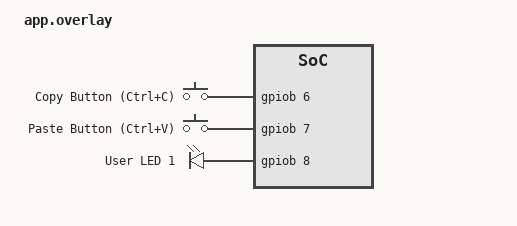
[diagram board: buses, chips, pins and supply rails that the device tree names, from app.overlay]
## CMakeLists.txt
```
# SPDX-License-Identifier: Apache-2.0

cmake_minimum_required(VERSION 3.20.0)
find_package(Zephyr REQUIRED HINTS $ENV{ZEPHYR_BASE})
project(blinky)

target_sources(app PRIVATE
    src/main.c
    src/ble.c
    src/button.c)
```

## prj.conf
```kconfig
CONFIG_GPIO=y

# ================================================================== #
#  Низкое энергопотребление CPU1: PM + Tickless                       #
#                                                                     #
#  CONFIG_PM=y             — Power Management Zephyr. При idle        #
#                            CPU1 входит в STOP2 (~единицы мкА).      #
#  CONFIG_PM_DEVICE=y      — сохранение/восстановление периферии      #
#                            при переходе CPU в сон.                  #
#  CONFIG_TICKLESS_KERNEL=y — глушит системный тик в idle; иначе      #
#                            SysTick будит CPU каждые ~1 мс и STOP2   #
#                            не достигается.                          #
#                                                                     #
#  wakeup: прерывание IPCC_C1_RX_IRQn (прямое NVIC, без EXTI) и      #
#  EXTI кнопок будят CPU1 из STOP2, поэтому BLE-события от CPU2 и    #
#  нажатия кнопок продолжают обрабатываться.                          #
# ================================================================== #
CONFIG_PM=y
CONFIG_PM_DEVICE=y
CONFIG_TICKLESS_KERNEL=y

# === Консоль через SEGGER RTT (вместо USB CDC ACM) ===

# Базовая консоль
CONFIG_CONSOLE=y
CONFIG_STDOUT_CONSOLE=y

# Отключаем UART-консоль, чтобы не было конфликта с RTT
CONFIG_UART_CONSOLE=n

# Включаем библиотеку SEGGER RTT
CONFIG_USE_SEGGER_RTT=y

# Направляем консольный вывод в RTT (Channel 0)
CONFIG_RTT_CONSOLE=y

# === Shell поверх RTT (Channel 0) ===
# CONFIG_SHELL=y
# CONFIG_SHELL_BACKEND_RTT=y
# CONFIG_KERNEL_SHELL=y

# === Подсистема логирования (LOG_INF/LOG_ERR/...) в SEGGER RTT ===
# Включаем подсистему логирования Zephyr
CONFIG_LOG=y
# RTT-бекенд: направляет сообщения LOG_* в SEGGER RTT
CONFIG_LOG_BACKEND_RTT=y
# ВАЖНО: shell уже занимает RTT Channel 0 (CONFIG_SHELL_BACKEND_RTT_BUFFER=0).
# Zephyr запрещает два бекенда на одном канале (BUILD_ASSERT в shell_rtt.c),
# поэтому логи направляем на отдельный RTT Channel 1.
CONFIG_LOG_BACKEND_RTT_BUFFER=1
# Блокирующий режим (ждать освобождения буфера RTT) — надёжнее,
# но ценой задержок при переполнении. Альтернатива: DROP (терять).
CONFIG_LOG_BACKEND_RTT_MODE_DROP=y
# Максимальный размер одного сообщения лога (байт)
CONFIG_LOG_BACKEND_RTT_MESSAGE_SIZE=256
# Уровень логирования по умолчанию: 1 = ERR только ошибки.
# Логи будят CPU1 из STOP2, поэтому оставляем минимум.
# Для отладки: 2 = WRN, 3 = INF, 4 = DBG.
CONFIG_LOG_DEFAULT_LEVEL=1
# Включаем цветной вывод (опционально, поддерживается RTT-вьюером)
CONFIG_LOG_BACKEND_SHOW_COLOR=y
# Буферизация логов: накапливать в кольцевом буфере, сбрасывать
# порциями — реже будит CPU из STOP2. При переполнении старые теряются.
CONFIG_LOG_MODE_OVERFLOW=y

# ================================================================== #
#  Bluetooth LE HID-устройство ( stm32_button )                       #
#                                                                     #
#  Радиомодуль STM32WB55 (CPU2) управляется через IPCC/IPM-драйвер    #
#  (drivers/bluetooth/hci/ipm_stm32wb.c). Узел ble_rf уже включён     #
#  в stm32wb.dtsi, а zephyr,bt-hci = &ble_rf — в chosen.              #
#  Поэтому CONFIG_BT_STM32_IPM включается автоматически.              #
# ================================================================== #

# Базовый стек Bluetooth LE (Host + Controller-драйвер IPM)
CONFIG_BT=y

# Отладочный лог HCI-драйвера IPM (ipm_stm32wb.c): показывает запуск CPU2,
# ошибки IPCC/клоков, таймаут C2_STARTED и т.п. Временно для диагностики.
# CONFIG_BT_HCI_DRIVER_LOG_LEVEL_DBG=y

# Периферийная роль (обходимся как HID-клавиатура/пульт)
CONFIG_BT_PERIPHERAL=y

# Менеджер безопасности (SMP): HID требует шифрованного канала
CONFIG_BT_SMP=y

# Хранение ключей спаривания и ID-адреса во flash (NVS).
# ВКЛЮЧЕНО: сохраняет bonding между перезагрузками (ключи, IRK, CSRK).
# ВАЖНО: при CONFIG_BT_SETTINGS=y стек НЕ создаёт ID-адрес сам.
# Приложение обязано вызвать settings_load() ПОСЛЕ bt_enable()
# (в callback'е bt_ready в ble.c), иначе реклама падает с -EAGAIN (-11):
#   "No ID address. App must call settings_load()".
CONFIG_BT_SETTINGS=y
CONFIG_SETTINGS=y
CONFIG_FLASH=y
CONFIG_FLASH_MAP=y
CONFIG_NVS=y

# Имя устройства, которое увидит хост (телефон/ПК) при сканировании
CONFIG_BT_DEVICE_NAME="Badge"

# Внешний вид (Appearance): 0x03C1 = 961 = HID Generic Keyboard
CONFIG_BT_DEVICE_APPEARANCE=961

# Увеличиваем стек системной очереди работ (settings/BT требуют больше)
CONFIG_SYSTEM_WORKQUEUE_STACK_SIZE=2048

# ================================================================== #
#  Энергосбережение BLE (connection parameters)                       #
#                                                                     #
#  CPU1 теперь засыпает (CONFIG_PM + TICKLESS, см. верх файла).      #
#  Дополнительно минимизируем активность радио CPU2 через            #
#  большие connection interval + slave latency:                      #
#  радио просыпается лишь раз в ~4 секунды.                          #
#                                                                     #
#  Параметры передаются хосту через GAP; хост применяет их           #
#  ПОСЛЕ успешного спаривания.                                        #
# ================================================================== #
CONFIG_BT_GAP_PERIPHERAL_PREF_PARAMS=y
# interval: единица 1.25 мс.
# MIN=320, MAX=320 → 400 мс между connection events.
CONFIG_BT_PERIPHERAL_PREF_MIN_INT=320
CONFIG_BT_PERIPHERAL_PREF_MAX_INT=320
# slave latency: пропуск 9 events → радио спит ~4 сек (9*400 мс)
CONFIG_BT_PERIPHERAL_PREF_LATENCY=9
# supervision timeout: единица 10 мс. 600 = 6 сек.
# Требование BLE: timeout > (1+latency)*interval*2 → 6 > (1+9)*0.4*2=8 ❌
# Поэтому при latency=9 interval=400мс нужен timeout > 8 сек → ставим 100 (10с).
CONFIG_BT_PERIPHERAL_PREF_TIMEOUT=1000
```

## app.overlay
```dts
/* SPDX-License-Identifier: Apache-2.0 */

/*
 * Консоль переведена на SEGGER RTT (Channel 0).
 * USB CDC ACM узлы убраны, т.к. в prj.conf отключён USB device stack.
 *
 * Кнопка sw0 НЕ описывается здесь: алиас уже определён в базовом DTS
 * платы WeAct STM32WB55 Core и указывает на boot_button (PH3,
 * GPIO_ACTIVE_HIGH | GPIO_PULL_DOWN). DT_ALIAS(sw0) в main.c получит
 * именно эту кнопку.
 */

 / {
     aliases {
         led1 = &led1;       /* новый алиас, led0 не трогаем */
         sw1 = &sw1;         /* кнопка Copy (Ctrl+C)  на PB6 */
         sw2 = &sw2;         /* кнопка Paste (Ctrl+V) на PB7 */
     };
     /*
      * Две дополнительные кнопки sw1/sw2 (gpio-keys).
      * sw0 уже определён в базовом DTS платы (boot_button PH3).
      *
      * PB6/PB7 выбраны т.к. их EXTI-линии (6,7) гарантированно свободны
      * (EXTI0/1 на PA0/PA1 заняты ADC/wkup-pin и вызывают -EBUSY).
      */
     buttons {
         compatible = "gpio-keys";
         sw1: button_1 {
             gpios = <&gpiob 6 (GPIO_ACTIVE_HIGH | GPIO_PULL_DOWN)>;
             label = "Copy Button (Ctrl+C)";
         };
         sw2: button_2 {
             gpios = <&gpiob 7 (GPIO_ACTIVE_HIGH | GPIO_PULL_DOWN)>;
             label = "Paste Button (Ctrl+V)";
         };
     };
     leds {
        /* led0 не описываем — он уже есть в основном DTS */
        led1: led_1 {
            gpios = <&gpiob 8 GPIO_ACTIVE_HIGH>;
            label = "User LED 1";
        };
    };
};

/* ====================================================================== *
 *  Освобождаем PA0/PA1 от ADC1 и wkup-pins                                *
 *                                                                         *
 *  В базовом DTS платы PA0/PA1 настроены как аналоговые входы ADC1.        *
 *  Также PA0/EXTI0 занят wkup-pin@1 (wakeup из sleep), что вызывает        *
 *  -EBUSY при настройке прерываний GPIO.                                   *
 *  Отключаем ADC1 и удаляем wkup-pins, освобождая PA0/PA1.                 *
 * ====================================================================== */
 &adc1 {
     status = "disabled";
     /delete-property/ pinctrl-0;
     /delete-property/ pinctrl-names;
 };

/* Отключаем wakeup-pins на PA0 (wkup-pin@1, EXTI0) и PA2 (wkup-pin@4, EXTI2),
 * чтобы освободить EXTI-линии для прерываний GPIO кнопок.
 * Узлы wkup-pin не имеют label, обращаемся по полному пути.
 */
&{/soc/power@58000400/wkup-pin@1} { status = "disabled"; };
&{/soc/power@58000400/wkup-pin@4} { status = "disabled"; };

/* ====================================================================== *
 *  Отключение неиспользуемой периферии для снижения энергопотребления    *
 *                                                                         *
 *  Каждый активный узел в SoC dtsi тактируется и потребляет ток          *
 *  даже в idle. Отключаем всё, что не используется приложением:          *
 *    - i2c1  (конфликтует с led1 на PB8, не используется)                *
 *    - usart1 (консоль переведена на RTT, UART не нужен)                 *
 *    - spi1/spi2 (не используются)                                       *
 *                                                                       *
 *  Примечание: USB device stack (usbus) в DTS платы WeAct отсутствует,  *
 *  поэтому отдельного узла usbus для отключения нет — USB и так не      *
 *  активируется, пока не включён CONFIG_USB_DEVICE_STACK в prj.conf.    *
 * ====================================================================== */
&i2c1   { status = "disabled"; };
&usart1 { status = "disabled"; };
&spi1   { status = "disabled"; };
&spi2   { status = "disabled"; };
```

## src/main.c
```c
/*
 * Copyright (c) 2016 Intel Corporation
 * SPDX-License-Identifier: Apache-2.0
 *
 * Демонстрация Bluetooth LE HID-клавиатуры "stm32_button".
 *
 * По нажатию механической кнопки (sw0 / BOOT на PH3):
 *   - зажигается светодиод led0;
 *   - по BLE HID отправляется нажатие клавиши Enter,
 *     а при отжатии — отпускание (нуль-отчёт).
 *
 * Энергосбережение:
 *   1) CONFIG_PM + CONFIG_TICKLESS_KERNEL: CPU1 (M4) входит в STOP2
 *      при idle. Пробуждение — по IPCC (BLE от CPU2) и EXTI (кнопки).
 *   2) Софтверный «сон BLE»: через SLEEP_TIMEOUT_SEC (10 сек) без
 *      нажатий останавливается BLE-реклама (радио CPU2 полностью
 *      выключается). Любое нажатие кнопки будит устройство.
 *   3) Основной поток после init уходит в k_sleep(K_FOREVER), чтобы
 *      не будить CPU периодическими таймерами.
 */

#include <zephyr/kernel.h>
#include <zephyr/logging/log.h>

#include "ble.h"
#include "button.h"

LOG_MODULE_REGISTER(main, CONFIG_LOG_DEFAULT_LEVEL);

/* Таймаут сна: 10 секунд без активности → засыпаем. */
#define SLEEP_TIMEOUT_SEC 10

/* Work для отложенного засыпания.
 * Сбрасывается при каждом нажатии кнопки (activity_callback).
 */
static void sleep_work_handler(struct k_work *work);
static K_WORK_DELAYABLE_DEFINE(sleep_work, sleep_work_handler);

/* Флаг состояния сна. */
static bool is_sleeping;

/* Вызывается при каждом нажатии кнопки (из button.c).
 * Сбрасывает таймер сна и будит BLE, если спит.
 */
static void on_button_activity(void)
{
	/* Сбрасываем таймер засыпания. */
	k_work_reschedule(&sleep_work, K_SECONDS(SLEEP_TIMEOUT_SEC));

	/* Если спали — просыпаемся. */
	if (is_sleeping) {
		is_sleeping = false;
		ble_wake();
	}
}

/* Вызывается по истечению SLEEP_TIMEOUT_SEC без активности. */
static void sleep_work_handler(struct k_work *work)
{
	ARG_UNUSED(work);

	if (!is_sleeping) {
		is_sleeping = true;
		ble_sleep();
	}
}

int main(void)
{
	int ret;

	LOG_INF("Старт: BLE HID \"%s\"", CONFIG_BT_DEVICE_NAME);

	/* --- Кнопка + светодиод --- */
	ret = button_init();
	if (ret < 0) {
		LOG_ERR("Инициализация кнопки/светодиода не удалась: %d", ret);
	}

	/* Регистрируем callback активности для сброса таймера сна. */
	button_set_activity_callback(on_button_activity);

	/* Даём RTT-вьюеру время вывести логи инициализации кнопок,
	 * прежде чем BLE начнёт спамить HCI-сообщениями.
	 */
	LOG_INF("Жду 3 сек перед BLE init...");
	k_sleep(K_SECONDS(3));
	LOG_INF("Запускаю BLE init");

	/* --- Bluetooth LE --- */
	ret = ble_init();
	if (ret < 0) {
		LOG_ERR("Инициализация Bluetooth не удалась: %d", ret);
	}

	/* Запускаем таймер сна: через 10 сек без нажатий → засыпаем. */
	k_work_reschedule(&sleep_work, K_SECONDS(SLEEP_TIMEOUT_SEC));

	/* Основной поток больше не нужен: вся логика (кнопки, BLE) живёт
	 * в прерываниях и системной workqueue. Уходим в вечный сон:
	 * при CONFIG_PM + TICKLESS_KERNEL CPU1 войдёт в STOP2 и будет
	 * пробуждаться только прерываниями IPCC (BLE от CPU2) или EXTI (кнопки).
	 *
	 * Раньше тут был цикл с k_sleep(K_SECONDS(10)) — он каждые 10 секунд
	 * будил CPU по программному таймеру, не давая достичь минимального тока.
	 */
	k_sleep(K_FOREVER);

	return 0;
}
```

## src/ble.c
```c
/*
 * SPDX-License-Identifier: Apache-2.0
 *
 * Реализация Bluetooth LE HID-клавиатуры.
 *
 * Подробнее см. ble.h.
 */

#include <string.h>

#include <zephyr/kernel.h>
#include <zephyr/logging/log.h>

#include <zephyr/bluetooth/bluetooth.h>
#include <zephyr/bluetooth/hci.h>
#include <zephyr/bluetooth/conn.h>
#include <zephyr/bluetooth/uuid.h>
#include <zephyr/bluetooth/gatt.h>
#include <zephyr/settings/settings.h>

#include "ble.h"

LOG_MODULE_REGISTER(ble, CONFIG_LOG_DEFAULT_LEVEL);

/* ------------------------------------------------------------------ *
 *  Типы и константы HIDS                                              *
 * ------------------------------------------------------------------ */

/* Отчёт HID-клавиатуры:
 *   byte 0 — модификаторы (Ctrl/Shift/Alt/GUI),
 *   byte 1 — зарезервирован,
 *   bytes 2..7 — до 6 одновременно нажатых клавиш.
 */
struct hid_keyboard_report {
	uint8_t modifiers;
	uint8_t reserved;
	uint8_t key[6];
} __packed;

/* HIDS Information: версия USB HID Spec, код страны, флаги. */
enum {
	HIDS_REMOTE_WAKE = BIT(0),
	HIDS_NORMALLY_CONNECTABLE = BIT(1),
};

struct hids_info {
	uint16_t version; /* версия базовой спецификации USB HID */
	uint8_t code;     /* код локализации страны */
	uint8_t flags;
} __packed;

struct hids_report {
	uint8_t id;   /* идентификатор отчёта */
	uint8_t type; /* тип отчёта: Input/Output/Feature */
} __packed;

enum {
	HIDS_INPUT = 0x01,
	HIDS_OUTPUT = 0x02,
	HIDS_FEATURE = 0x03,
};

static struct hids_info info = {
	.version = 0x0000,
	.code = 0x00,
	.flags = HIDS_NORMALLY_CONNECTABLE,
};

static struct hids_report input_report_ref = {
	.id = 0x01,
	.type = HIDS_INPUT,
};

/* Дескриптор отчёта (Report Map) для стандартной HID-клавиатуры.
 * Описывает одно приложение Usage(Keyboard) с:
 *   - байтом модификаторов (8 бит),
 *   - байтом-заполнителем,
 *   - массивом из 6 кодов клавиш.
 */
static const uint8_t report_map[] = {
	0x05, 0x01, /* Usage Page (Generic Desktop) */
	0x09, 0x06, /* Usage (Keyboard) */
	0xA1, 0x01, /* Collection (Application) */
	0x85, 0x01, /*   Report Id (1) */
	0x05, 0x07, /*   Usage Page (Keyboard/Keypad) */
	0x19, 0xE0, /*   Usage Minimum (0xE0 - Left Control) */
	0x29, 0xE7, /*   Usage Maximum (0xE7 - Right GUI) */
	0x15, 0x00, /*   Logical Minimum (0) */
	0x25, 0x01, /*   Logical Maximum (1) */
	0x75, 0x01, /*   Report Size (1) */
	0x95, 0x08, /*   Report Count (8) */
	0x81, 0x02, /*   Input (Data,Var,Abs) - модификаторы */
	0x95, 0x01, /*   Report Count (1) */
	0x75, 0x08, /*   Report Size (8) */
	0x81, 0x01, /*   Input (Cnst,Arr,Abs) - зарезервировано */
	0x95, 0x05, /*   Report Count (5) */
	0x75, 0x01, /*   Report Size (1) */
	0x05, 0x08, /*   Usage Page (LEDs) */
	0x19, 0x01, /*   Usage Minimum (Num Lock) */
	0x29, 0x05, /*   Usage Maximum (Kana) */
	0x91, 0x02, /*   Output (Data,Var,Abs) - индикаторы */
	0x95, 0x01, /*   Report Count (1) */
	0x75, 0x03, /*   Report Size (3) */
	0x91, 0x01, /*   Output (Cnst,Arr,Abs) - заполнитель */
	0x95, 0x06, /*   Report Count (6) */
	0x75, 0x08, /*   Report Size (8) */
	0x15, 0x00, /*   Logical Minimum (0) */
	0x25, 0x73, /*   Logical Maximum (0x73) */
	0x05, 0x07, /*   Usage Page (Keyboard/Keypad) */
	0x19, 0x00, /*   Usage Minimum (0) */
	0x29, 0x73, /*   Usage Maximum (0x73) */
	0x81, 0x00, /*   Input (Data,Arr) - массив клавиш */
	0xC0,       /* End Collection */
};

/* Текущее состояние клавиш (отправляется по notify). */
static struct hid_keyboard_report keyboard_state;

/* Признак того, что хост включил уведомления (CCC = NOTIFY). */
static bool hid_notify_enabled;

/* Активное подключение (для bt_gatt_notify). */
static struct bt_conn *default_conn;

/* Разрешения: HID требует шифрованного канала, но не обязательно
 * аутентифицированного. Используем READ_ENCRYPT/WRITE_ENCRYPT,
 * чтобы не усложнять спаривание (Just Works).
 */
#define HIDS_PERM_READ  BT_GATT_PERM_READ_ENCRYPT
#define HIDS_PERM_WRITE BT_GATT_PERM_WRITE_ENCRYPT

/* ------------------------------------------------------------------ *
 *  Callback'и чтения/записи атрибутов HIDS                            *
 * ------------------------------------------------------------------ */

static ssize_t read_hids_info(struct bt_conn *conn,
			      const struct bt_gatt_attr *attr,
			      void *buf, uint16_t len, uint16_t offset)
{
	return bt_gatt_attr_read(conn, attr, buf, len, offset,
				 attr->user_data, sizeof(struct hids_info));
}

static ssize_t read_report_map(struct bt_conn *conn,
			       const struct bt_gatt_attr *attr,
			       void *buf, uint16_t len, uint16_t offset)
{
	return bt_gatt_attr_read(conn, attr, buf, len, offset,
				 (void *)report_map, sizeof(report_map));
}

static ssize_t read_input_report(struct bt_conn *conn,
				 const struct bt_gatt_attr *attr,
				 void *buf, uint16_t len, uint16_t offset)
{
	return bt_gatt_attr_read(conn, attr, buf, len, offset,
				 &keyboard_state, sizeof(keyboard_state));
}

static ssize_t read_report_ref(struct bt_conn *conn,
			       const struct bt_gatt_attr *attr,
			       void *buf, uint16_t len, uint16_t offset)
{
	return bt_gatt_attr_read(conn, attr, buf, len, offset,
				 attr->user_data, sizeof(struct hids_report));
}

static void input_ccc_changed(const struct bt_gatt_attr *attr,
			      uint16_t value)
{
	hid_notify_enabled = (value == BT_GATT_CCC_NOTIFY);
	LOG_INF("HID notify %s", hid_notify_enabled ? "включён" : "выключен");
}

static uint8_t ctrl_point;

static ssize_t write_ctrl_point(struct bt_conn *conn,
				const struct bt_gatt_attr *attr,
				const void *buf, uint16_t len,
				uint16_t offset, uint8_t flags)
{
	/* Control Point используется хостом для команд suspend/resume.
	 * Принимаем значение, но не обрабатываем детально.
	 */
	uint8_t *val = attr->user_data;

	if (offset + len > sizeof(uint8_t)) {
		return BT_GATT_ERR(BT_ATT_ERR_INVALID_OFFSET);
	}
	memcpy(val + offset, buf, len);
	return len;
}

/* ------------------------------------------------------------------ *
 *  HID Service Declaration                                            *
 * ------------------------------------------------------------------ */

/* HID Service Declaration.
 * Порядок атрибутов важен: индекс входного отчёта (с notify) используется
 * в hid_send_key() для bt_gatt_notify().
 *
 *   attrs[0]  - Primary Service
 *   attrs[1]  - Characteristic decl (Info)
 *   attrs[2]  - Info value
 *   attrs[3]  - Characteristic decl (Report Map)
 *   attrs[4]  - Report Map value
 *   attrs[5]  - Characteristic decl (Report, read+notify)
 *   attrs[6]  - Report value   <-- notify отправляем сюда
 *   attrs[7]  - CCC descriptor
 *   attrs[8]  - Report Reference descriptor
 *   attrs[9]  - Characteristic decl (Control Point)
 *   attrs[10] - Control Point value
 */
BT_GATT_SERVICE_DEFINE(hids_svc,
	BT_GATT_PRIMARY_SERVICE(BT_UUID_HIDS),

	BT_GATT_CHARACTERISTIC(BT_UUID_HIDS_INFO,
			       BT_GATT_CHRC_READ,
			       HIDS_PERM_READ,
			       read_hids_info, NULL, &info),

	BT_GATT_CHARACTERISTIC(BT_UUID_HIDS_REPORT_MAP,
			       BT_GATT_CHRC_READ,
			       HIDS_PERM_READ,
			       read_report_map, NULL, NULL),

	BT_GATT_CHARACTERISTIC(BT_UUID_HIDS_REPORT,
			       BT_GATT_CHRC_READ | BT_GATT_CHRC_NOTIFY,
			       HIDS_PERM_READ,
			       read_input_report, NULL, &keyboard_state),
	BT_GATT_CCC(input_ccc_changed,
		    HIDS_PERM_READ | HIDS_PERM_WRITE),
	BT_GATT_DESCRIPTOR(BT_UUID_HIDS_REPORT_REF,
			   BT_GATT_PERM_READ,
			   read_report_ref, NULL, &input_report_ref),

	BT_GATT_CHARACTERISTIC(BT_UUID_HIDS_CTRL_POINT,
			       BT_GATT_CHRC_WRITE_WITHOUT_RESP,
			       BT_GATT_PERM_WRITE_ENCRYPT,
			       NULL, write_ctrl_point, &ctrl_point),
);

/* Индекс атрибута значения входного отчёта в массиве hids_svc.attrs[]
 * (см. комментарий выше). bt_gatt_notify() принимает указатель на атрибут.
 */
#define HIDS_INPUT_REPORT_ATTR_IDX 6

/* ------------------------------------------------------------------ *
 *  Advertising и callbacks подключения                                *
 * ------------------------------------------------------------------ */

/* Advertising data: флаги LE + UUID HID-сервиса (0x1812). */
static const struct bt_data ad[] = {
	BT_DATA_BYTES(BT_DATA_FLAGS,
		      (BT_LE_AD_GENERAL | BT_LE_AD_NO_BREDR)),
	BT_DATA_BYTES(BT_DATA_UUID16_ALL,
		      BT_UUID_16_ENCODE(BT_UUID_HIDS_VAL)),
};

/* Scan response: полное имя устройства из CONFIG_BT_DEVICE_NAME. */
static const struct bt_data sd[] = {
	BT_DATA(BT_DATA_NAME_COMPLETE,
		CONFIG_BT_DEVICE_NAME,
		sizeof(CONFIG_BT_DEVICE_NAME) - 1),
};

/* Work для отложенного перезапуска рекламы после disconnect.
 * Нельзя вызывать bt_le_adv_start() прямо из callback disconnected(),
 * т.к. он выполняется в RX-потоке HCI до освобождения буферов -> -ENOMEM.
 */
static void adv_restart_work_handler(struct k_work *work);
K_WORK_DELAYABLE_DEFINE(adv_restart_work, adv_restart_work_handler);

static void adv_restart_work_handler(struct k_work *work)
{
	ARG_UNUSED(work);

	if (default_conn != NULL) {
		/* Уже успели подключиться заново — реклама не нужна. */
		return;
	}

	int err = bt_le_adv_start(BT_LE_ADV_CONN_FAST_1,
				  ad, ARRAY_SIZE(ad),
				  sd, ARRAY_SIZE(sd));
	if (err) {
		LOG_ERR("Перезапуск рекламы не удался: %d", err);
	} else {
		LOG_INF("Реклама перезапущена");
	}
}

static void connected(struct bt_conn *conn, uint8_t err)
{
	if (err) {
		LOG_ERR("Подключение не удалось: err 0x%02x %s",
			err, bt_hci_err_to_str(err));
		return;
	}

	if (default_conn) {
		bt_conn_disconnect(conn, BT_HCI_ERR_REMOTE_USER_TERM_CONN);
		return;
	}

	LOG_INF("Bluetooth подключён %s", bt_conn_dst_str(conn));

	default_conn = bt_conn_ref(conn);

	/* HID требует защищённого канала — запрашиваем уровень L2. */
	if (bt_conn_set_security(conn, BT_SECURITY_L2)) {
		LOG_WRN("Не удалось задать уровень безопасности");
	}
}

static void disconnected(struct bt_conn *conn, uint8_t reason)
{
	LOG_INF("Bluetooth отключён, причина 0x%02x %s",
		reason, bt_hci_err_to_str(reason));

	if (default_conn == conn) {
		bt_conn_unref(default_conn);
		default_conn = NULL;
		hid_notify_enabled = false;
	}

	/* Перезапускаем рекламу с задержкой, чтобы выполнить вызов вне
	 * контекста RX-потока HCI (иначе bt_le_adv_start() падает с -ENOMEM).
	 */
	k_work_reschedule(&adv_restart_work, K_MSEC(20));
}

static void security_changed(struct bt_conn *conn, bt_security_t level,
			     enum bt_security_err err)
{
	if (!err) {
		LOG_INF("Безопасность: уровень %u", level);
	} else {
		LOG_WRN("Сбой безопасности: уровень %u, err %s (%d)",
			level, bt_security_err_to_str(err), err);
	}
}

BT_CONN_CB_DEFINE(conn_callbacks) = {
	.connected = connected,
	.disconnected = disconnected,
	.security_changed = security_changed,
};

static void bt_ready(int err)
{
	if (err) {
		LOG_ERR("Bluetooth init failed: %d", err);
		return;
	}

	LOG_INF("Bluetooth инициализирован");

	/* При CONFIG_BT_SETTINGS=y стек не генерирует ID-адрес сам: он ожидает,
	 * что адрес и ключи bonding'а загружены из NVS. Без этого вызова
	 * bt_le_adv_start() падает с -EAGAIN (-11) и в логе видно:
	 *   "No ID address. App must call settings_load()".
	 * Обработчики настроек BT регистрируются внутри bt_enable(), поэтому
	 * settings_load() вызываем здесь, в bt_ready(), ДО старта рекламы.
	 *
	 * На STM32WB55 HCI-драйвер IPM сам предоставляет public-адрес от CPU2
	 * (видно в логе: "Identity: 80:E1:26:CC:A3:25 (public)"), поэтому
	 * bt_id_create() НЕ нужен — он конфликтует с адресом от HCI-драйвера.
	 */
	if (IS_ENABLED(CONFIG_BT_SETTINGS)) {
		int sret = settings_load();
		if (sret) {
			LOG_ERR("settings_load() failed: %d", sret);
		}
	}

	/* Запускаем рекламу: подключаемую (CONNECTABLE) + scan response. */
	err = bt_le_adv_start(BT_LE_ADV_CONN_FAST_1,
			      ad, ARRAY_SIZE(ad),
			      sd, ARRAY_SIZE(sd));
	if (err) {
		LOG_ERR("Запуск рекламы не удался: %d", err);
		return;
	}

	LOG_INF("Реклама запущена: устройство видно как \"%s\"",
		CONFIG_BT_DEVICE_NAME);
}

/* ------------------------------------------------------------------ *
 *  Публичные функции                                                  *
 * ------------------------------------------------------------------ */

void hid_send_key(uint8_t modifier, uint8_t hid_key)
{
	if (!default_conn || !hid_notify_enabled) {
		LOG_DBG("HID-отправка пропущена: нет подключения/notify");
		return;
	}

	memset(&keyboard_state, 0, sizeof(keyboard_state));
	if (hid_key != 0) {
		keyboard_state.modifiers = modifier;
		keyboard_state.key[0] = hid_key;
	}

	int err = bt_gatt_notify(default_conn,
				 &hids_svc.attrs[HIDS_INPUT_REPORT_ATTR_IDX],
				 &keyboard_state, sizeof(keyboard_state));
	if (err) {
		LOG_WRN("bt_gatt_notify() failed: %d", err);
	}
}

int ble_init(void)
{
	int err = bt_enable(bt_ready);
	if (err) {
		LOG_ERR("Bluetooth init failed: %d", err);
	}
	return err;
}
```

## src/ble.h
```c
/*
 * SPDX-License-Identifier: Apache-2.0
 *
 * Bluetooth LE HID-клавиатура "stm32_button".
 *
 * Модуль реализует:
 *   - HIDS (Human Interface Device Service) поверх GATT;
 *   - рекламу (advertising) с UUID HID-сервиса и именем устройства;
 *   - обработку подключений/безопасности;
 *   - отправку HID-отчётов нажатий/отпусканий клавиш.
 *
 * Имя устройства задаётся в prj.conf: CONFIG_BT_DEVICE_NAME="stm32_button".
 */

#ifndef BLE_H
#define BLE_H

#include <stdint.h>

/* HID Usage ID клавиш (Keyboard/Keypad Page). */
#define HID_KEY_ENTER 0x28
#define HID_KEY_C     0x06   /* клавиша 'c' */
#define HID_KEY_V     0x19   /* клавиша 'v' */

/* Биты модификаторов в byte 0 HID-отчёта. */
#define HID_MOD_NONE       0x00
#define HID_MOD_LEFT_CTRL  0x01
#define HID_MOD_LEFT_SHIFT 0x02
#define HID_MOD_LEFT_ALT   0x04
#define HID_MOD_LEFT_GUI   0x08

/*
 * Инициализация Bluetooth LE:
 *   - bt_enable() с callback bt_ready;
 *   - запуск рекламы в bt_ready().
 *
 * Возвращает 0 при успехе, отрицательный код ошибки при неудаче
 * (аналогично bt_enable()).
 */
int ble_init(void);

/*
 * Отправка HID-отчёта хосту.
 *   modifier — биты модификаторов (HID_MOD_*) или HID_MOD_NONE;
 *   hid_key  — код клавиши; hid_key == 0 — отпускание всех клавиш.
 *
 * Ничего не делает, если нет подключения или хост не включил notify (CCC).
 */
void hid_send_key(uint8_t modifier, uint8_t hid_key);

/*
 * Останавливает BLE-рекламу для снижения энергопотребления.
 * Если есть активное подключение — отключает его.
 * Радио CPU2 прекращает передачу advertising-пакетов.
 */
void ble_sleep(void);

/*
 * Возобновляет BLE-рекламу после сна.
 * GPIO-прерывание от кнопки будит CPU1, после чего вызывается эта функция.
 */
void ble_wake(void);

#endif /* BLE_H */
```

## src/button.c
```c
/*
 * SPDX-License-Identifier: Apache-2.0
 *
 * Реализация работы с механическими кнопками (sw0/sw1/sw2) и светодиодом (led0).
 *
 * Подробнее см. button.h.
 */

#include <zephyr/kernel.h>
#include <zephyr/device.h>
#include <zephyr/drivers/gpio.h>
#include <zephyr/logging/log.h>

#include "button.h"
#include "ble.h"

LOG_MODULE_REGISTER(button, CONFIG_LOG_DEFAULT_LEVEL);

/* ------------------------------------------------------------------ *
 *  Devicetree-узлы и константы                                        *
 * ------------------------------------------------------------------ */

/* sw0 = boot_button на PH3 (GPIO_ACTIVE_HIGH | GPIO_PULL_DOWN). */
#define SW0_NODE DT_ALIAS(sw0)
BUILD_ASSERT(DT_NODE_HAS_STATUS_OKAY(SW0_NODE),
	     "Не найден узел кнопки (alias sw0) в devicetree. "
	     "Проверьте DTS платы: узел gpio-keys с алиасом sw0.");

  /* sw1 = кнопка Copy (Ctrl+C) на PA0. */
  #define SW1_NODE DT_ALIAS(sw1)
  BUILD_ASSERT(DT_NODE_HAS_STATUS_OKAY(SW1_NODE),
  	     "Не найден узел кнопки (alias sw1) в devicetree. "
  	     "Добавьте узел gpio-keys с алиасом sw1 в app.overlay.");
  
  /* sw2 = кнопка Paste (Ctrl+V) на PA1. */
  #define SW2_NODE DT_ALIAS(sw2)
BUILD_ASSERT(DT_NODE_HAS_STATUS_OKAY(SW2_NODE),
	     "Не найден узел кнопки (alias sw2) в devicetree. "
	     "Добавьте узел gpio-keys с алиасом sw2 в app.overlay.");

/* Светодиод led0 (синий User LED на PE4). */
#define LED0_NODE DT_ALIAS(led0)

#define BUTTON_DEBOUNCE_MS 20

/* ------------------------------------------------------------------ *
 *  Описание кнопки                                                    *
 * ------------------------------------------------------------------ */

/* Конфигурация одной кнопки: GPIO, HID-модификатор и код клавиши.
 * Каждая кнопка имеет собственный callback и debounce work.
 */
struct button_config {
	const struct gpio_dt_spec spec;
	struct gpio_callback cb;
	struct k_work_delayable debounce_work;

	/* HID-отчёт, отправляемый при нажатии. */
	uint8_t modifier;
	uint8_t hid_key;

	/* Текстовое описание для логов. */
	const char *name;
};

#define BUTTON_ENTRY(node_id, mod, key, label)			\
{									\
	.spec    = GPIO_DT_SPEC_GET(node_id, gpios),			\
	.modifier = (mod),						\
	.hid_key = (key),						\
	.name    = (label),						\
}

static struct button_config buttons[] = {
	BUTTON_ENTRY(SW0_NODE, HID_MOD_NONE,      HID_KEY_ENTER, "sw0 Enter"),
	BUTTON_ENTRY(SW1_NODE, HID_MOD_LEFT_GUI,  HID_KEY_C,     "sw1 Cmd+C"),
	BUTTON_ENTRY(SW2_NODE, HID_MOD_LEFT_GUI,  HID_KEY_V,     "sw2 Cmd+V"),
};

#define BUTTONS_COUNT ARRAY_SIZE(buttons)

/* Светодиод led0 — зажигается при нажатии любой кнопки. */
static const struct gpio_dt_spec led = GPIO_DT_SPEC_GET(LED0_NODE, gpios);

/* Callback активности: вызывается при каждом нажатии (для сброса таймера сна). */
static void (*activity_callback)(void);

/* ------------------------------------------------------------------ *
 *  Обработка нажатий (антидребезг + отправка HID)                     *
 * ------------------------------------------------------------------ */

static void button_debounce_handler(struct k_work *work)
{
	struct k_work_delayable *dwork = k_work_delayable_from_work(work);
	struct button_config *btn =
		CONTAINER_OF(dwork, struct button_config, debounce_work);

	int val = gpio_pin_get_dt(&btn->spec);
	if (val < 0) {
		LOG_ERR("[%s] Не удалось прочитать состояние кнопки: %d",
			btn->name, val);
		return;
	}

	if (val) {
		gpio_pin_set_dt(&led, 1);
		LOG_INF("[%s] нажата -> HID modifier=0x%02x key=0x%02x",
			btn->name, btn->modifier, btn->hid_key);
		hid_send_key(btn->modifier, btn->hid_key);
		/* Уведомляем main() о активности для сброса таймера сна. */
		if (activity_callback) {
			activity_callback();
		}
	} else {
		gpio_pin_set_dt(&led, 0);
		LOG_INF("[%s] отжата -> HID release", btn->name);
		hid_send_key(HID_MOD_NONE, 0);
	}
}

static void button_pressed(const struct device *dev, struct gpio_callback *cb,
			   uint32_t pins)
{
	ARG_UNUSED(dev);
	ARG_UNUSED(pins);

	/* Находим кнопку по указателю callback. */
	struct button_config *btn =
		CONTAINER_OF(cb, struct button_config, cb);

	k_work_reschedule(&btn->debounce_work, K_MSEC(BUTTON_DEBOUNCE_MS));
}

/* ------------------------------------------------------------------ *
 *  Публичные функции                                                  *
 * ------------------------------------------------------------------ */

static int button_setup_one(struct button_config *btn)
{
	int ret;

	if (!device_is_ready(btn->spec.port)) {
		LOG_ERR("[%s] GPIO-устройство %s не готово",
			btn->name, btn->spec.port->name);
		return -ENODEV;
	}

	LOG_INF("[%s] настройка: порт=%s pin=%d",
		btn->name, btn->spec.port->name, btn->spec.pin);

	k_work_init_delayable(&btn->debounce_work, button_debounce_handler);

	ret = gpio_pin_configure_dt(&btn->spec, GPIO_INPUT);
	if (ret < 0) {
		LOG_ERR("[%s] gpio_pin_configure_dt() failed: %d",
			btn->name, ret);
		return ret;
	}

	/* Проверяем текущее состояние пина после настройки. */
	int val = gpio_pin_get_dt(&btn->spec);
	LOG_INF("[%s] состояние после настройки: %d", btn->name, val);

	ret = gpio_pin_interrupt_configure_dt(&btn->spec, GPIO_INT_EDGE_BOTH);
	if (ret < 0) {
		LOG_ERR("[%s] gpio_pin_interrupt_configure_dt() failed: %d",
			btn->name, ret);
		return ret;
	}

	gpio_init_callback(&btn->cb, button_pressed, BIT(btn->spec.pin));
	ret = gpio_add_callback(btn->spec.port, &btn->cb);
	if (ret < 0) {
		LOG_ERR("[%s] gpio_add_callback() failed: %d",
			btn->name, ret);
		return ret;
	}

	LOG_INF("[%s] готова: прерывания + антидребезг %d мс",
		btn->name, BUTTON_DEBOUNCE_MS);
	return 0;
}

static int buttons_setup(void)
{
	for (size_t i = 0; i < BUTTONS_COUNT; i++) {
		int ret = button_setup_one(&buttons[i]);
		if (ret < 0) {
			return ret;
		}
	}
	return 0;
}

static int led_setup(void)
{
	if (!device_is_ready(led.port)) {
		LOG_ERR("GPIO-устройство светодиода %s не готово", led.port->name);
		return -ENODEV;
	}

	int ret = gpio_pin_configure_dt(&led, GPIO_OUTPUT_INACTIVE);
	if (ret < 0) {
		LOG_ERR("Не удалось настроить светодиод: %d", ret);
		return ret;
	}

	LOG_INF("Светодиод готов: зажигается по нажатию любой кнопки");
	return 0;
}

void button_set_activity_callback(void (*callback)(void))
{
	activity_callback = callback;
}

int button_init(void)
{
	int ret;

	ret = led_setup();
	if (ret < 0) {
		return ret;
	}

	ret = buttons_setup();
	if (ret < 0) {
		return ret;
	}

	return 0;
}
```

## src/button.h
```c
/*
 * SPDX-License-Identifier: Apache-2.0
 *
 * Механическая кнопка (alias sw0) + светодиод led0.
 *
 * По нажатию/отжатию кнопки:
 *   - зажигается/гаснет светодиод led0;
 *   - вызывается hid_send_key() из модуля BLE (нажатие Enter / отпускание).
 *
 * sw0 = boot_button на PH3 (GPIO_ACTIVE_HIGH | GPIO_PULL_DOWN) —
 * алиас уже определён в базовом DTS платы WeAct STM32WB55 Core.
 */

#ifndef BUTTON_H
#define BUTTON_H

/*
 * Инициализация кнопки и светодиода:
 *   - настраивает GPIO кнопки на вход с прерыванием по обоим фронтам;
 *   - включает антидребезг (BUTTON_DEBOUNCE_MS);
 *   - настраивает светодиод led0 на выход.
 *
 * Возвращает 0 при успехе, отрицательный код ошибки при неудаче.
 */
int button_init(void);

void button_set_activity_callback(void (*callback)(void));
#endif /* BUTTON_H */
```

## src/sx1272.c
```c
/*
 * SPDX-License-Identifier: Apache-2.0
 *
 * Реализация работы с LoRa-трансивером SX1272.
 *
 * Подробнее см. sx1272.h.
 */

#include <zephyr/kernel.h>
#include <zephyr/device.h>
#include <zephyr/drivers/lora.h>
#include <zephyr/logging/log.h>

/* Низкоуровневый API модуля loramac-node: Radio.Read()/Write() поверх SPI. */
#include <radio.h>

#include "sx1272.h"

LOG_MODULE_REGISTER(sx1272, CONFIG_LOG_DEFAULT_LEVEL);

/* ------------------------------------------------------------------ *
 *  SX1272: адреса регистров и константы                               *
 * ------------------------------------------------------------------ */
#define SX1272_REG_LR_OPMODE       0x01
#define SX1272_REG_LR_FRFMSB       0x06
#define SX1272_REG_LR_FRFMID       0x07
#define SX1272_REG_LR_FRFLSB       0x08
#define SX1272_REG_LR_PACONFIG     0x09
#define SX1272_REG_LR_LNA          0x0C
#define SX1272_REG_LR_MODEMCONFIG1 0x1D
#define SX1272_REG_LR_MODEMCONFIG2 0x1E
#define SX1272_REG_LR_SYNCWORD     0x39
#define SX1272_REG_LR_VERSION      0x42
#define SX1272_VERSION_ID          0x22

#define LORA_NODE DT_ALIAS(lora0)
BUILD_ASSERT(DT_NODE_HAS_STATUS_OKAY(LORA_NODE),
	     "Не найден узел LoRa (alias lora0) в devicetree. "
	     "Проверьте app.overlay: узел sx1272 с compatible = \"semtech,sx1272\".");

/* ------------------------------------------------------------------ *
 *  Дамп регистров и callback приёма                                   *
 * ------------------------------------------------------------------ */

static void sx1272_dump_registers(void)
{
	const uint8_t version = Radio.Read(SX1272_REG_LR_VERSION);

	printk("=== Регистры SX1272 (чтение по SPI) ===\n");
	printk("REG_VERSION       (0x42) = 0x%02x  (%s)\n", version,
		version == SX1272_VERSION_ID ? "SX1272 OK" : "НЕВЕРНЫЙ ID!");

	printk("REG_OPMODE        (0x01) = 0x%02x\n", Radio.Read(SX1272_REG_LR_OPMODE));

	uint32_t frf = ((uint32_t)Radio.Read(SX1272_REG_LR_FRFMSB) << 16) |
		       ((uint32_t)Radio.Read(SX1272_REG_LR_FRFMID) << 8) |
		       ((uint32_t)Radio.Read(SX1272_REG_LR_FRFLSB));
	uint32_t freq_hz = (uint32_t)((uint64_t)frf * 32000000ULL >> 19);
	printk("REG_FRF MSB/MID/LSB (0x06..08): frf=0x%06x -> %u Гц\n",
		frf, freq_hz);

	printk("REG_PACONFIG      (0x09) = 0x%02x\n", Radio.Read(SX1272_REG_LR_PACONFIG));
	printk("REG_LNA           (0x0C) = 0x%02x\n", Radio.Read(SX1272_REG_LR_LNA));
	printk("REG_MODEMCONFIG1  (0x1D) = 0x%02x\n", Radio.Read(SX1272_REG_LR_MODEMCONFIG1));
	printk("REG_MODEMCONFIG2  (0x1E) = 0x%02x\n", Radio.Read(SX1272_REG_LR_MODEMCONFIG2));
	printk("REG_SYNCWORD      (0x39) = 0x%02x\n", Radio.Read(SX1272_REG_LR_SYNCWORD));
}

static void on_lora_packet_recv(const struct device *dev, uint8_t *data,
				uint16_t size, int16_t rssi, int8_t snr,
				void *user_data)
{
	ARG_UNUSED(dev);
	ARG_UNUSED(user_data);

	LOG_INF("LoRa RX: RSSI=%d dBm, SNR=%d dB, %u байт", rssi, snr, size);
	LOG_HEXDUMP_INF(data, size, "payload");
}

/* ------------------------------------------------------------------ *
 *  Публичные функции                                                  *
 * ------------------------------------------------------------------ */

int sx1272_init(void)
{
	const struct device *const lora_dev = DEVICE_DT_GET(LORA_NODE);
	struct lora_modem_config config = {0};
	int ret;

	if (!device_is_ready(lora_dev)) {
		LOG_ERR("LoRa-устройство %s не готово", lora_dev->name);
		return -ENODEV;
	}

	config.frequency = 868000000;
	config.bandwidth = BW_125_KHZ;
	config.datarate = SF_7;
	config.coding_rate = CR_4_5;
	config.preamble_len = 8;
	config.tx_power = 14;
	config.iq_inverted = false;
	config.public_network = false;
	config.packet_crc_disable = false;
	config.tx = false;

	ret = lora_config(lora_dev, &config);
	if (ret < 0) {
		LOG_ERR("lora_config() failed: %d", ret);
		return ret;
	}

	LOG_INF("Модем: 868 МГц, BW125, SF7, CR4/5, RX");
	sx1272_dump_registers();

	ret = lora_recv_async(lora_dev, on_lora_packet_recv, NULL);
	if (ret < 0) {
		LOG_ERR("lora_recv_async() failed: %d", ret);
		return ret;
	}

	LOG_INF("Непрерывный приём (RXCONTINUOUS) запущен");
	return 0;
}
```

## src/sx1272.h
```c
/*
 * SPDX-License-Identifier: Apache-2.0
 *
 * LoRa-трансивер SX1272 по SPI (Zephyr LoRa subsystem).
 *
 * Модуль отвечает за:
 *   - конфигурирование модема (частота, BW, SF, CR, мощность, режим RX);
 *   - чтение/дамп регистров SX1272 через низкоуровневый API loramac-node;
 *   - запуск непрерывного приёма (RXCONTINUOUS) с callback on_lora_packet_recv.
 *
 * Узел devicetree задаётся алиасом lora0 (см. app.overlay: sx1272@0 на spi1).
 */

#ifndef SX1272_H
#define SX1272_H

/*
 * Инициализация LoRa-модема SX1272:
 *   - получает устройство по DT_ALIAS(lora0);
 *   - конфигурирует модем (868 МГц, BW125, SF7, CR4/5, RX);
 *   - выводит дамп регистров;
 *   - запускает непрерывный приём (lora_recv_async).
 *
 * Возвращает 0 при успехе, отрицательный код ошибки при неудаче.
 */
int sx1272_init(void);

#endif /* SX1272_H */
```
